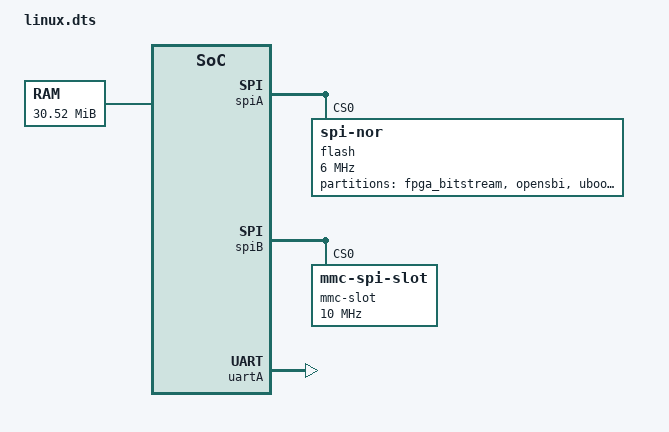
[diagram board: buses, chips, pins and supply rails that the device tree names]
/dts-v1/;

/include/ "sapphire.dtsi"

#define CPU_FREQ 250000000
#define PERIPHERAL_FREQ 50000000

/ {
    chosen {
        bootargs = "rootwait console=hvc0  earlycon=sbi root=/dev/mmcblk0p2 init=/sbin/init mmc_core.use_spi_crc=0";
    };

    cpus {
        timebase-frequency = <PERIPHERAL_FREQ>;
        cpu@0 {
            clock-frequency = <CPU_FREQ>;
        };
    };

    memory@1000 {
        device_type = "memory";
        reg = <0x00001000 0x01E84800>;
    };

    reserved-memory {
        #address-cells = <1>;
        #size-cells = <1>;
        ranges;

        opensbi: sbi@1000000 {
            reg = <0x01000000 0x80000>;
        };
    };
};

&apbA_clock {
    clock-frequency = <PERIPHERAL_FREQ>;
};

&spiA {
    status = "okay";
    flash: flash@0 {
        #address-cells = <1>;
        #size-cells = <1>;
        compatible = "spi-nor";
        reg = <0>;
        spi-max-frequency = <6000000>;

        partition@0 {
            label = "fpga_bitstream";
            reg = <0x000000 0x400000>;
        };
        partition@1 {
            label = "opensbi";
            reg = <0x400000 0x080000>;
        };
        partition@2 {
            label = "uboot";
            reg = <0x480000 0x080000>;
        };
        partition@3 {
            label = "user";
            reg = <0x500000 0x300000>;
        };
    };
};

&spiB {
    status = "okay";
    mmc-slot@0 {
        compatible = "mmc-spi-slot";
        reg = <0>;
        voltage-ranges = <3300 3300>;
        spi-max-frequency = <10000000>;
    };
};

&uartA {
    status = "okay";
};

&gpioA {
    status = "okay";
};
